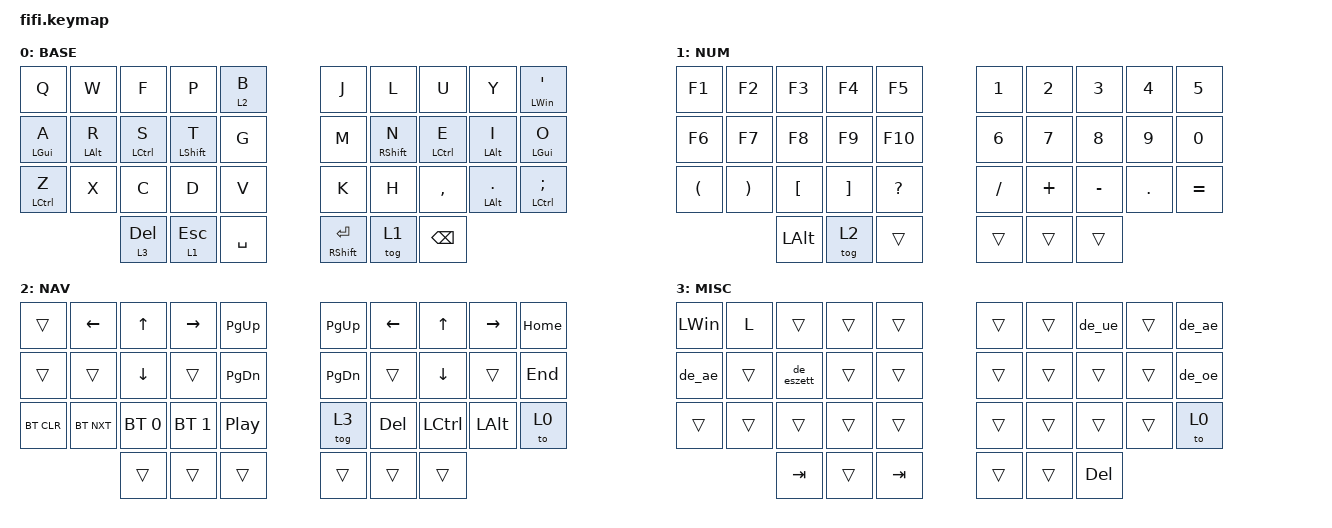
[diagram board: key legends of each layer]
/*
 * Copyright (c) 2020 The ZMK Contributors
 *
 * SPDX-License-Identifier: MIT
 */

#include <behaviors.dtsi>
#include <dt-bindings/zmk/keys.h>
#include <dt-bindings/zmk/bt.h>

#define HOST_OS 2
#include "../config/zmk-nodefree-config-main/helper.h"
#include "../config/zmk-nodefree-config-main/keypos_def/keypos_36keys.h"
#include "../config/zmk-nodefree-config-main/international_chars/german_alt.dtsi" 


#define DEFAULT 0
#define NUM     1
#define NAV     2
#define MISC    3

/* use helper macros to define left and right hand keys */
#include "../zmk-nodefree-config/keypos_def/keypos_36keys.h"                // keyposition helpers
#define KEYS_L LT0 LT1 LT2 LT3 LT4 LM0 LM1 LM2 LM3 LM4 LB0 LB1 LB2 LB3 LB4  // left-hand keys
#define KEYS_R RT0 RT1 RT2 RT3 RT4 RM0 RM1 RM2 RM3 RM4 RB0 RB1 RB2 RB3 RB4  // right-hand keys
#define THUMBS LH2 LH1 LH0 RH0 RH1 RH2                                      // thumb keys

/* left-hand HRMs */
ZMK_BEHAVIOR(hml, hold_tap,
    flavor = "balanced";
    tapping-term-ms = <280>;
    quick-tap-ms = <175>;                // repeat on tap-into-hold
    global-quick-tap-ms = <150>;         // requires PR #1387
    bindings = <&kp>, <&kp>;
    hold-trigger-key-positions = <KEYS_R THUMBS>;
    hold-trigger-on-release;             // delay positional check until key-release
)

/* right-hand HRMs */
ZMK_BEHAVIOR(hmr, hold_tap,
    flavor = "balanced";
    tapping-term-ms = <280>;
    quick-tap-ms = <175>;                // repeat on tap-into-hold
    global-quick-tap-ms = <150>;         // requires PR #1387
    bindings = <&kp>, <&kp>;
    hold-trigger-key-positions = <KEYS_L THUMBS>;
    hold-trigger-on-release;             // delay positional check until key-release
)


&mt {
    tapping-term-ms = <150>;
    flavor = "tap-preferred";
    };


/ {
    behaviors {
        hm: homerow_mods {
            compatible = "zmk,behavior-hold-tap";
            label = "homerow mods";
            #binding-cells = <2>;
            tapping_term_ms = <200>;
            quick-tap-ms = <0>;
            flavor = "tap-preferred";
            bindings = <&kp>, <&kp>;
            };
        
        ht_hp: ht_hp_mods {
            compatible = "zmk,behavior-hold-tap";
            label = "HT_HP";
            #binding-cells = <2>;
            tapping-term-ms = <250>;
            flavor = "hold-preferred";
            bindings = <&kp>, <&kp>;
            };
        parentheses_chevrons: parentheses_chevrons {
            compatible = "zmk,behavior-mod-morph";
            label = "parentheses_chevrons";
            #binding-cells = <0>;
            bindings = <&parentheses>, <&chevrons>;
            mods = <(MOD_LSFT)>;
            };


        };
    };

/ {
    macros {

            your_macro: your_macro {
            compatible = "zmk,behavior-macro";
            label = "YOUR_MACRO";
            #binding-cells = <0>;
            bindings =
               <&macro_press &kp LSHFT>,
               <&macro_press &kp LGUI>,
               <&macro_tap &kp S>,
               <&macro_release &kp LGUI>,
               <&macro_release &kp LSHFT>;
            };

            macro_par: macro_par {
                label = "macro_par";
                compatible = "zmk,behavior-macro";
                #binding-cells = <0>;
                tap-ms = <10>;
                wait-ms = <10>;
                bindings = <&macro_tap &kp LPAR &kp RPAR &kp LEFT>;
                };

            parentheses: parentheses {
                        label = "parentheses";
                        compatible = "zmk,behavior-macro";
                        #binding-cells = <0>;
                        bindings = <&macro_tap &kp LPAR &kp RPAR &kp LEFT>;
                };

            chevrons: chevrons {
                label = "chevrons";
                compatible = "zmk,behavior-macro";
                #binding-cells = <0>;
                wait-ms = <10>;
                tap-ms = <10>;
                bindings = <&macro_tap &kp LT &kp GT &kp LEFT>;
                };

          };
    };



                                  // ╭─────────────┬─────────────┬─────────────┬─────────────┬─────────────╮   ╭─────────────┬─────────────┬─────────────┬─────────────┬─────────────╮
                                  //	    0             1             2             3            4                  5             6             7             8             9
                                  // ├─────────────┼─────────────┼─────────────┼─────────────┼─────────────┤   ├─────────────┼─────────────┼─────────────┼─────────────┼─────────────┤
                                  //       10             11            12            13          14                 15            16            17            18            19
                                  // ├─────────────┼─────────────┼─────────────┼─────────────┼─────────────┤   ├─────────────┼─────────────┼─────────────┼─────────────┼─────────────┤
                                  //       20             21            22            23          24                 25            26            27            28            29	
                                  // ╰─────────────┼─────────────┼─────────────┼─────────────┼─────────────┤   ├─────────────┼─────────────┼─────────────┼─────────────┼─────────────╯
                                  //                                    31            31            32                33            34            35
                                  //                             ╰─────────────┴─────────────┴─────────────╯   ╰─────────────┴─────────────┴─────────────╯




/ {
    combos {
        compatible = "zmk,combos";
        combo_scrn_shot {
            timeout-ms = <70>;
            key-positions = <0 4>;
            bindings = <&kp LG(LS(S))>;
        };

        combo_scsnip {
            timeout-ms = <70>;
            key-positions = <1 9>;
            bindings = <&your_macro>;
        };


        combo_alt_tab {
            timeout-ms = <70>;
            key-positions = <24 5>;
            bindings = <&kp LA(TAB)>;
        };

        combo_Parentheses {
            timeout-ms = <70>;
            key-positions = <0 29>;
            bindings = <&macro_par>;
        };

        combo_bracket_round_l {
            timeout-ms = <70>;
            key-positions = <1 18>;
            bindings = <&kp LPAR>;
        };
        combo_bracket_round_r {
            timeout-ms = <70>;
            key-positions = <1 19>;
            bindings = <&kp RIGHT_PARENTHESIS>;
        };

        combo_parentheses_chevrons {
            timeout-ms = <70>;
            key-positions = <1 29>;
            bindings = <&parentheses_chevrons>;
        };

        combo_bracket_square_l {
            timeout-ms = <70>;
            key-positions = <0 16>;
            bindings = <&kp LBKT>;
        };

        combo_bracket_square_r {
            timeout-ms = <70>;
            key-positions = <0 17>;
            bindings = <&kp RBKT>;
        };
    };

};

/ {
    keymap {
            compatible = "zmk,keymap";

            BASE {
                    label = "BASE";
                    bindings = <
                                  // ╭─────────────┬─────────────┬─────────────┬─────────────┬─────────────╮   ╭─────────────┬─────────────┬─────────────┬─────────────┬───────────────────╮
                                           &kp Q        &kp W          &kp F        &kp P      &lt 2 B             &kp J          &kp L        &kp U          &kp Y       &ht_hp LWIN SQT
                                  // ├─────────────┼─────────────┼─────────────┼─────────────┼─────────────┤   ├─────────────┼─────────────┼─────────────┼─────────────┼───────────────────┤
                                       &hml LGUI A   &hml LALT R   &hml LCTRL S  &hml LSHFT T    &kp G              &kp M      &hmr RSHFT N  &hmr LCTRL E  &hmr LALT I      &hmr LGUI O
                                  // ├─────────────┼─────────────┼─────────────┼─────────────┼─────────────┤   ├─────────────┼─────────────┼─────────────┼─────────────┼───────────────────┤
                                      &ht_hp LCTRL Z    &kp X          &kp C        &kp D         &kp V             &kp K          &kp H     &kp COMMA   &ht_hp LALT DOT  &ht_hp LCTRL SEMI 
                                  // ╰─────────────┼─────────────┼─────────────┼─────────────┼─────────────┤   ├─────────────┼─────────────┼─────────────┼─────────────┼───────────────────╯
                                                                   &lt 3 DEL      &lt 1 ESC     &kp SPACE       &mt RSHFT RET      &tog 1       &kp BSPC
                                  //                             ╰─────────────┴─────────────┴─────────────╯   ╰─────────────┴─────────────┴─────────────╯
                                >;
                };

            NUM {
                    label = "NUM";
                    bindings = <
                                
                                  // ╭─────────────┬─────────────┬─────────────┬─────────────┬─────────────╮   ╭─────────────┬─────────────┬─────────────┬─────────────┬─────────────╮      
                                          &kp F1        &kp F2        &kp F3        &kp F4        &kp F5           &kp N1         &kp N2       &kp N3        &kp N4        &kp N5
                                  // ├─────────────┼─────────────┼─────────────┼─────────────┼─────────────┤   ├─────────────┼─────────────┼─────────────┼─────────────┼─────────────┤
                                          &kp F6        &kp F7        &kp F8        &kp F9        &kp F10          &kp N6         &kp N7       &kp N8        &kp N9        &kp N0
                                  // ├─────────────┼─────────────┼─────────────┼─────────────┼─────────────┤   ├─────────────┼─────────────┼─────────────┼─────────────┼─────────────┤
                                          &kp LPAR     &kp RPAR       &kp LBKT      &kp RBKT      &kp QMARK        &kp FSLH       &kp PLUS     &kp MINUS     &kp DOT       &kp EQUAL
                                  // ╰─────────────┼─────────────┼─────────────┼─────────────┼─────────────┤   ├─────────────┼─────────────┼─────────────┼─────────────┼─────────────╯
                                                                      &kp LALT      &tog 2        &trans            &trans         &trans       &trans
                                  //                             ╰─────────────┴─────────────┴─────────────╯   ╰─────────────┴─────────────┴─────────────╯
                            >;
                };

            NAV {
                    label = "NAV";
                    bindings = <
                                  // ╭─────────────┬─────────────┬─────────────┬─────────────┬─────────────╮   ╭─────────────┬─────────────┬─────────────┬─────────────┬─────────────╮  
                                          &trans       &kp LEFT       &kp UP      &kp RIGHT     &kp PG_UP         &kp PG_UP       &kp LEFT      &kp UP      &kp RIGHT       &kp HOME
                                  // ├─────────────┼─────────────┼─────────────┼─────────────┼─────────────┤   ├─────────────┼─────────────┼─────────────┼─────────────┼─────────────┤
                                          &trans       &trans         &kp DOWN      &trans      &kp PG_DN         &kp PG_DN        &trans        &kp DOWN    &trans          &kp END
                                  // ├─────────────┼─────────────┼─────────────┼─────────────┼─────────────┤   ├─────────────┼─────────────┼─────────────┼─────────────┼─────────────┤
                                        &bt BT_CLR    &bt BT_NXT   &bt BT_SEL 0  &bt BT_SEL 1   &kp C_PP           &tog 3       &kp DELETE     &kp LCTRL   &kp LALT        &to 0
                                  // ╰─────────────┼─────────────┼─────────────┼─────────────┼─────────────┤   ├─────────────┼─────────────┼─────────────┼─────────────┼─────────────╯
                                                                      &trans        &trans      &trans              &trans        &trans        &trans
                                  //                             ╰─────────────┴─────────────┴─────────────╯   ╰─────────────┴─────────────┴─────────────╯
                            >;
                };

            MISC {
                    bindings = <
                                  // ╭─────────────┬─────────────┬─────────────┬─────────────┬─────────────╮   ╭─────────────┬─────────────┬─────────────┬─────────────┬─────────────╮ 
                                         &kp LWIN       &kp L         &trans        &trans       &trans             &trans        &trans        &de_ue        &trans        &de_ae
                                  // ├─────────────┼─────────────┼─────────────┼─────────────┼─────────────┤   ├─────────────┼─────────────┼─────────────┼─────────────┼─────────────┤
                                         &de_ae         &trans      &de_eszett      &trans       &trans             &trans        &trans        &trans        &trans        &de_oe
                                  // ├─────────────┼─────────────┼─────────────┼─────────────┼─────────────┤   ├─────────────┼─────────────┼─────────────┼─────────────┼─────────────┤
                                         &trans         &trans        &trans        &trans       &trans             &trans        &trans        &trans        &trans        &to 0
                                  // ╰─────────────┼─────────────┼─────────────┼─────────────┼─────────────┤   ├─────────────┼─────────────┼─────────────┼─────────────┼─────────────╯
                                                                      &kp TAB       &trans       &kp TAB            &trans        &trans        &kp DEL
                                  //                             ╰─────────────┴─────────────┴─────────────╯   ╰─────────────┴─────────────┴─────────────╯
                            >;
                };
        };
};
